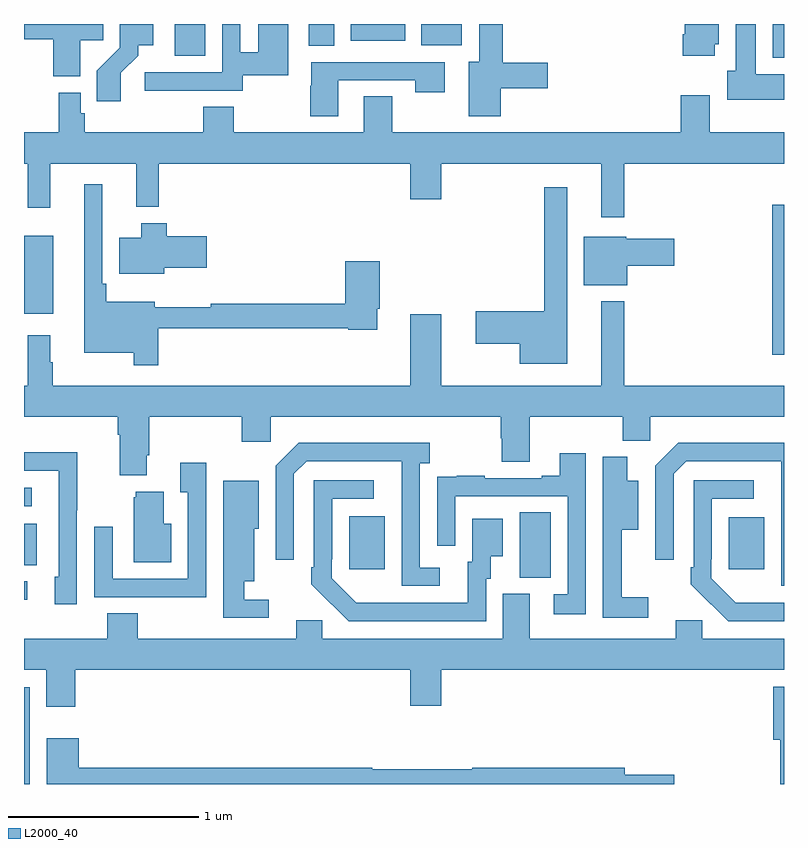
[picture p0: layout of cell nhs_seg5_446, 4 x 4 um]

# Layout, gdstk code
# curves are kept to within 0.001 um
import gdstk
lib = gdstk.Library(unit=1e-6, precision=1e-09)
def R(c, l, rs):  # rectangles x0, y0, x1, y1
    for r in rs: c.add(gdstk.rectangle(r[:2], r[2:], *l))
def P(c, l, *ps):  # polygons
    for p in ps: c.add(gdstk.Polygon(p, *l))
L2000_40 = (2000, 40)

nhs_seg5_446 = lib.new_cell('nhs_seg5_446')
R(nhs_seg5_446, L2000_40, [(139,882.799,139.029,883.308), (139,883.769,139.018,883.866), (141.608,883.885,141.772,884.228), (140.711,883.929,140.899,884.209), (142.709,883.929,142.897,884.203), (139,883.951,139.066,884.17), (139,884.262,139.042,884.358), (142.938,885.057,143,885.848), (139,885.275,139.153,885.685), (142.94,886.622,143,886.799), (139.793,886.632,139.954,886.799), (140.498,886.684,140.632,886.799), (141.092,886.688,141.304,886.799), (140.72,886.712,141.007,886.799)])
P(nhs_seg5_446, L2000_40, [(139.297,886.714),(139.418,886.714),(139.418,886.799),(139,886.799),(139,886.718),(139.153,886.718),(139.153,886.523),(139.297,886.523)],
  [(139.859,886.449),(140.152,886.449),(140.152,886.53),(140.392,886.53),(140.392,886.799),(140.234,886.799),(140.234,886.651),(140.139,886.651),(140.139,886.799),(140.043,886.799),(140.043,886.545),(139.635,886.545),(139.635,886.447),(139.859,886.447)],
  [(141.508,886.46),(141.757,886.46),(141.757,886.595),(141.521,886.595),(141.521,886.799),(141.395,886.799),(141.395,886.6),(141.341,886.6),(141.341,886.314),(141.508,886.314)],
  [(139.51,886.543),(139.6,886.633),(139.6,886.688),(139.681,886.688),(139.681,886.799),(139.503,886.799),(139.503,886.673),(139.384,886.554),(139.384,886.392),(139.51,886.392)],
  [(142.636,886.692),(142.657,886.692),(142.657,886.799),(142.478,886.799),(142.478,886.744),(142.466,886.744),(142.466,886.632),(142.636,886.632)],
  [(143,886.534),(142.852,886.534),(142.852,886.799),(142.745,886.799),(142.745,886.554),(142.7,886.554),(142.7,886.4),(143,886.4)],
  [(140.653,886.503),(141.058,886.503),(141.058,886.44),(141.214,886.44),(141.214,886.599),(140.513,886.599),(140.513,886.475),(140.506,886.475),(140.506,886.314),(140.653,886.314)],
  [(139,886.064),(139.021,886.064),(139.021,885.831),(139.139,885.831),(139.139,886.064),(139.592,886.064),(139.592,885.836),(139.709,885.836),(139.709,886.064),(141.032,886.064),(141.032,885.876),(141.196,885.876),(141.196,886.064),(142.037,886.064),(142.037,885.783),(142.159,885.783),(142.159,886.064),(143,886.064),(143,886.228),(142.609,886.228),(142.609,886.423),(142.457,886.423),(142.457,886.228),(140.937,886.228),(140.937,886.418),(140.789,886.418),(140.789,886.228),(140.103,886.228),(140.103,886.364),(139.943,886.364),(139.943,886.228),(139.319,886.228),(139.319,886.329),(139.299,886.329),(139.299,886.438),(139.183,886.438),(139.183,886.228),(139,886.228)],
  [(139.706,885.198),(140.706,885.198),(140.706,885.19),(140.86,885.19),(140.86,885.301),(140.873,885.301),(140.873,885.55),(140.69,885.55),(140.69,885.326),(139.983,885.326),(139.983,885.308),(139.687,885.308),(139.687,885.337),(139.433,885.337),(139.433,885.433),(139.413,885.433),(139.413,885.955),(139.316,885.955),(139.316,885.068),(139.578,885.068),(139.578,885.003),(139.706,885.003)],
  [(141.859,885.94),(141.738,885.94),(141.738,885.287),(141.378,885.287),(141.378,885.116),(141.608,885.116),(141.608,885.011),(141.859,885.011)],
  [(139.738,885.515),(139.963,885.515),(139.963,885.681),(139.751,885.681),(139.751,885.751),(139.616,885.751),(139.616,885.673),(139.502,885.673),(139.502,885.485),(139.738,885.485)],
  [(142.174,885.527),(142.423,885.527),(142.423,885.669),(142.17,885.669),(142.17,885.679),(141.947,885.679),(141.947,885.425),(142.174,885.425)],
  [(139.645,884.53),(139.658,884.53),(139.658,884.732),(140.147,884.732),(140.147,884.601),(140.298,884.601),(140.298,884.732),(141.509,884.732),(141.509,884.619),(141.514,884.619),(141.514,884.494),(141.661,884.494),(141.661,884.732),(142.15,884.732),(142.15,884.606),(142.296,884.606),(142.296,884.732),(143,884.732),(143,884.896),(142.159,884.896),(142.159,885.34),(142.037,885.34),(142.037,884.896),(141.196,884.896),(141.196,885.271),(141.032,885.271),(141.032,884.896),(139.15,884.896),(139.15,885.02),(139.138,885.02),(139.138,885.16),(139.021,885.16),(139.021,884.896),(139,884.896),(139,884.732),(139.493,884.732),(139.493,884.636),(139.505,884.636),(139.505,884.423),(139.645,884.423)],
  [(141.187,883.938),(141.084,883.938),(141.084,884.486),(141.136,884.486),(141.136,884.596),(140.446,884.596),(140.325,884.475),(140.325,883.98),(140.421,883.98),(140.421,884.433),(140.487,884.499),(140.988,884.499),(140.988,883.842),(141.187,883.842)],
  [(143,884.596),(142.444,884.596),(142.323,884.475),(142.323,883.98),(142.419,883.98),(142.419,884.433),(142.485,884.499),(142.985,884.499),(142.985,884.299),(142.986,884.299),(142.986,883.842),(143,883.842)],
  [(139.278,884.239),(139.281,884.239),(139.281,884.546),(139,884.546),(139,884.448),(139.182,884.448),(139.182,883.89),(139.163,883.89),(139.163,883.746),(139.278,883.746)],
  [(141.957,884.539),(141.821,884.539),(141.821,884.422),(141.725,884.422),(141.725,884.409),(141.425,884.409),(141.425,884.422),(141.277,884.422),(141.277,884.415),(141.175,884.415),(141.175,884.306),(141.174,884.306),(141.174,884.052),(141.27,884.052),(141.27,884.313),(141.861,884.313),(141.861,883.797),(141.789,883.797),(141.789,883.692),(141.957,883.692)],
  [(142.285,883.783),(142.145,883.783),(142.145,884.138),(142.234,884.138),(142.234,884.395),(142.174,884.395),(142.174,884.521),(142.047,884.521),(142.047,883.674),(142.285,883.674)],
  [(139.959,884.491),(139.823,884.491),(139.823,884.335),(139.863,884.335),(139.863,883.878),(139.467,883.878),(139.467,884.152),(139.371,884.152),(139.371,883.782),(139.687,883.782),(139.687,883.781),(139.959,883.781)],
  [(141.432,883.878),(141.457,883.878),(141.457,883.997),(141.52,883.997),(141.52,884.194),(141.359,884.194),(141.359,883.968),(141.335,883.968),(141.335,883.752),(140.748,883.753),(140.619,883.881),(140.619,883.981),(140.622,883.981),(140.622,884.301),(140.842,884.301),(140.842,884.397),(140.526,884.397),(140.526,883.939),(140.511,883.939),(140.511,883.851),(140.708,883.656),(141.432,883.656)],
  [(143,883.752),(142.746,883.753),(142.617,883.881),(142.617,883.981),(142.62,883.981),(142.62,884.301),(142.84,884.301),(142.84,884.397),(142.524,884.397),(142.524,883.939),(142.509,883.939),(142.509,883.851),(142.706,883.656),(143,883.656)],
  [(140.287,883.77),(140.158,883.77),(140.158,883.865),(140.212,883.865),(140.212,884.142),(140.236,884.142),(140.236,884.395),(140.048,884.395),(140.048,883.969),(140.049,883.969),(140.049,883.674),(140.287,883.674)],
  [(139.774,884.17),(139.735,884.17),(139.735,884.338),(139.589,884.338),(139.589,884.307),(139.577,884.307),(139.577,883.967),(139.774,883.967)],
  [(139.271,883.4),(141.032,883.4),(141.032,883.212),(141.196,883.212),(141.196,883.4),(143,883.4),(143,883.564),(142.569,883.564),(142.569,883.662),(142.43,883.662),(142.43,883.564),(141.661,883.564),(141.661,883.8),(141.521,883.8),(141.521,883.564),(140.571,883.564),(140.571,883.662),(140.432,883.662),(140.432,883.564),(139.599,883.564),(139.599,883.697),(139.439,883.697),(139.439,883.564),(139,883.564),(139,883.4),(139.118,883.4),(139.118,883.206),(139.271,883.206)],
  [(143,883.312),(142.943,883.312),(142.943,883.032),(142.979,883.032),(142.979,882.799),(143,882.799)],
  [(142.423,882.848),(142.162,882.848),(142.162,882.884),(141.358,882.884),(141.358,882.877),(140.833,882.877),(140.833,882.884),(139.288,882.884),(139.288,883.039),(139.121,883.039),(139.121,882.799),(142.423,882.799)])

lib.write_gds('nhs_seg5_446.gds')
